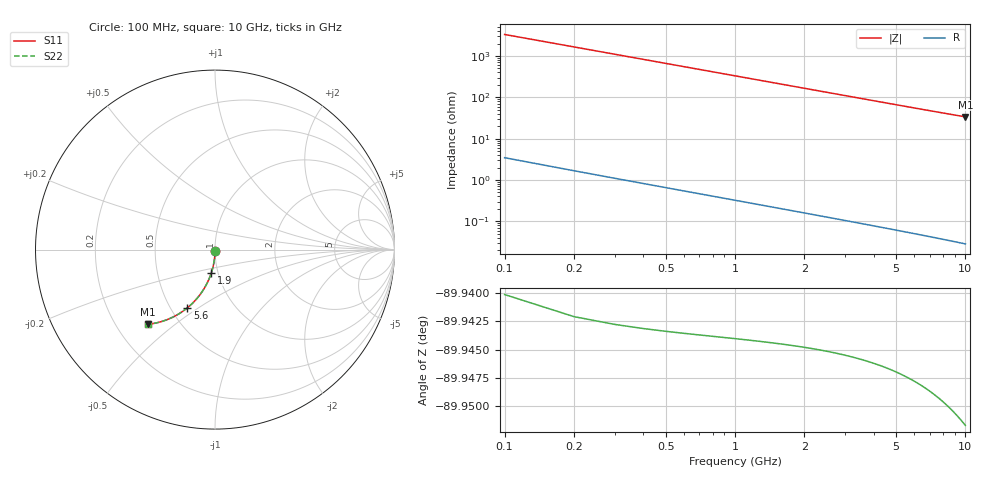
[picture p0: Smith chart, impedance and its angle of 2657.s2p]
# Hz S RI R 50.00
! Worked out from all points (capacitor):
!   100 points, 100 MHz to 10 GHz, reference 50 ohm
!   read as one part in shunt: C = 480 fF near 100 MHz
!   lowest |Z| = 33.7 ohm at 10 GHz (marker M1)
!   S11 on the Smith chart (normalised r, x): 100 MHz: 1.00, -0.01; 1.9 GHz: 0.93, -0.24; 5.6 GHz: 0.61, -0.45; 10 GHz: 0.33, -0.40
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1e8  0.000109 -0.00688  0.9998 -0.0082  0.9998 -0.0082  0.000109 -0.00688
2e8  -6.68e-05 -0.0138  0.9996 -0.0164  0.9996 -0.0164  -6.68e-05 -0.0138
3e8  -0.000355 -0.0206  0.9993 -0.0246  0.9993 -0.0246  -0.000355 -0.0206
4e8  -0.000756 -0.0275  0.9989 -0.0328  0.9989 -0.0328  -0.000756 -0.0275
5e8  -0.00127 -0.0343  0.9984 -0.041  0.9984 -0.041  -0.00127 -0.0343
6e8  -0.0019 -0.0412  0.9977 -0.0491  0.9977 -0.0491  -0.0019 -0.0412
7e8  -0.00263 -0.048  0.997 -0.0573  0.997 -0.0573  -0.00263 -0.048
8e8  -0.00348 -0.0548  0.9961 -0.0654  0.9961 -0.0654  -0.00348 -0.0548
9e8  -0.00444 -0.0616  0.9951 -0.0735  0.9951 -0.0735  -0.00444 -0.0616
1.1e9  -0.00669 -0.0752  0.9928 -0.0897  0.9928 -0.0897  -0.00669 -0.0752
1.4e9  -0.0109 -0.0953  0.9886 -0.1138  0.9886 -0.1138  -0.0109 -0.0953
1.8e9  -0.018 -0.1216  0.9814 -0.1455  0.9814 -0.1455  -0.018 -0.1216
1.9e9  -0.02 -0.1281  0.9793 -0.1533  0.9793 -0.1533  -0.02 -0.1281
2.2e9  -0.0267 -0.1473  0.9725 -0.1765  0.9725 -0.1765  -0.0267 -0.1473
2.6e9  -0.037 -0.1722  0.962 -0.2068  0.962 -0.2068  -0.037 -0.1722
3.4e9  -0.062 -0.2193  0.9366 -0.2646  0.9366 -0.2646  -0.062 -0.2193
4.2e9  -0.092 -0.2619  0.906 -0.318  0.906 -0.318  -0.092 -0.2619
5.1e9  -0.1307 -0.3039  0.8666 -0.3722  0.8666 -0.3722  -0.1307 -0.3039
5.6e9  -0.1539 -0.3243  0.8429 -0.3994  0.8429 -0.3994  -0.1539 -0.3243
6.7e9  -0.2078 -0.3617  0.7877 -0.452  0.7877 -0.452  -0.2078 -0.3617
8.4e9  -0.2944 -0.3998  0.6987 -0.5138  0.6987 -0.5138  -0.2944 -0.3998
1e10  -0.3742 -0.4162  0.6159 -0.5531  0.6159 -0.5531  -0.3742 -0.4162
